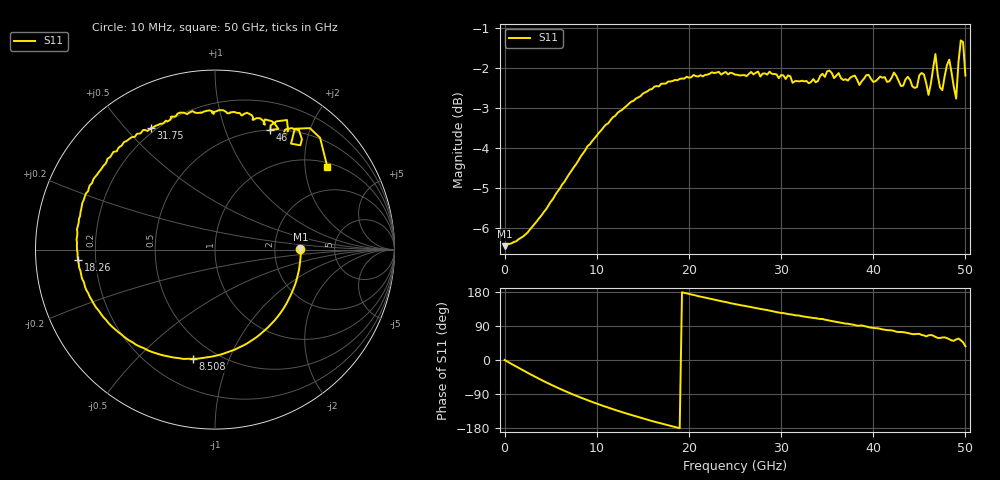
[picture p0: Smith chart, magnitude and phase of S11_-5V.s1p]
!Agilent Technologies,N5227A,US51270434,A.10.00.00
!Agilent N5227A: A.10.00.00
!Date: Thursday, February 26, 2026 12:32:07
!Correction: S11(Full 1 Port(1))
!S1P File: Measurement: S11:
# Hz S  dB  R 50
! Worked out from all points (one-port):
!   201 points, 10 MHz to 50 GHz, reference 50 ohm
!   lowest |S11| = -6.5 dB at 10 MHz (marker M1), VSWR 2.81, Z = 141 + j0.385 ohm
!   |S11| at or under -10 dB: nowhere
!   S11 on the Smith chart (normalised r, x): 10 MHz: 2.81, +0.01; 8.508 GHz: 0.38, -0.75; 18.26 GHz: 0.13, -0.04; 31.75 GHz: 0.18, +0.59; 46 GHz: 0.50, +1.44; 50 GHz: 1.14, +2.62
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1e7  -6.45 0.1
3.0094e9  -5.97 -40.3
6.25875e9  -4.91 -78.8
8.5083e9  -4.14 -101.4
1.25075e10  -3.09 -135.7
1.575685e10  -2.55 -159.4
1.825635e10  -2.33 -175.6
1.875625e10  -2.32 -178.5
2.25055e10  -2.12 160.5
2.5005e10  -2.17 147.6
2.875425e10  -2.10 130.3
3.125375e10  -2.38 119.6
3.175365e10  -2.33 117.8
3.75025e10  -2.25 94.6
4.375125e10  -2.23 71.1
4.5001e10  -2.19 69.0
4.575085e10  -2.39 62.3
4.60008e10  -2.68 65.2
4.675065e10  -1.66 60.9
4.70006e10  -2.19 58.4
4.75005e10  -2.56 59.4
4.80004e10  -1.94 57.8
4.875025e10  -2.49 50.7
4.90002e10  -2.77 54.3
4.925015e10  -1.86 56.6
4.95001e10  -1.32 52.0
4.975005e10  -1.36 46.8
5e10  -2.20 36.2
